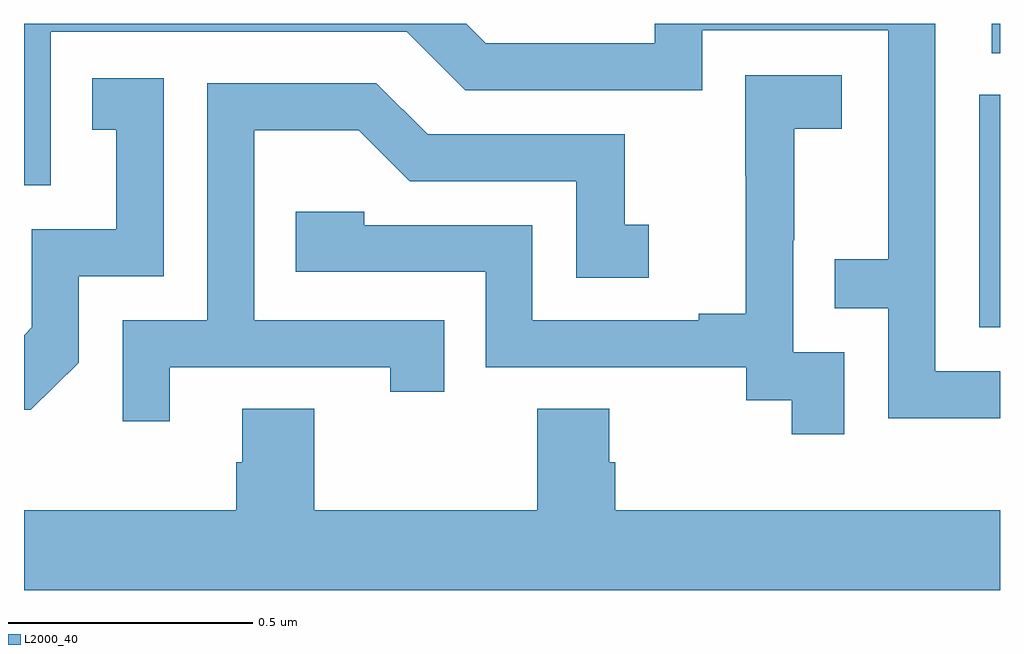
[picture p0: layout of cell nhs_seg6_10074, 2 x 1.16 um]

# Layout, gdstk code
import gdstk
lib = gdstk.Library(unit=1e-6, precision=1e-09)
def R(c, l, rs):  # rectangles x0, y0, x1, y1
    for r in rs: c.add(gdstk.rectangle(r[:2], r[2:], *l))
def P(c, l, *ps):  # polygons
    for p in ps: c.add(gdstk.Polygon(p, *l))
L2000_40 = (2000, 40)

nhs_seg6_10074 = lib.new_cell('nhs_seg6_10074')
R(nhs_seg6_10074, L2000_40, [(243.957,943.878,244,944.355), (243.983,944.44,244,944.5)])
P(nhs_seg6_10074, L2000_40, [(244,943.788),(243.867,943.788),(243.867,944.5),(243.293,944.5),(243.293,944.46),(242.946,944.46),(242.906,944.5),(242,944.5),(242,944.169),(242.055,944.169),(242.055,944.484),(242.784,944.484),(242.904,944.364),(243.39,944.364),(243.39,944.487),(243.771,944.487),(243.771,944.018),(243.661,944.018),(243.661,943.917),(243.771,943.917),(243.771,943.692),(244,943.692)],
  [(243.681,943.827),(243.576,943.827),(243.576,944.057),(243.578,944.057),(243.578,944.285),(243.676,944.285),(243.676,944.395),(243.478,944.395),(243.478,944.189),(243.479,944.189),(243.479,943.906),(243.383,943.906),(243.383,943.893),(243.042,943.893),(243.042,944.088),(242.697,944.088),(242.697,944.115),(242.557,944.115),(242.557,943.992),(242.946,943.992),(242.946,943.797),(243.48,943.797),(243.48,943.729),(243.573,943.729),(243.573,943.659),(243.681,943.659)],
  [(242.112,943.806),(242.112,943.983),(242.286,943.983),(242.286,944.389),(242.14,944.389),(242.14,944.283),(242.189,944.283),(242.189,944.079),(242.016,944.079),(242.016,943.878),(242,943.862),(242,943.709),(242.014,943.709)],
  [(242.299,943.797),(242.75,943.797),(242.75,943.746),(242.861,943.746),(242.861,943.893),(242.472,943.893),(242.472,944.282),(242.686,944.282),(242.79,944.178),(243.132,944.178),(243.132,943.98),(243.28,943.98),(243.28,944.089),(243.231,944.089),(243.231,944.274),(242.827,944.274),(242.722,944.379),(242.376,944.379),(242.376,943.893),(242.202,943.893),(242.202,943.686),(242.299,943.686)],
  [(244,943.504),(243.212,943.504),(243.212,943.602),(243.199,943.602),(243.199,943.712),(243.052,943.712),(243.052,943.504),(242.595,943.504),(242.595,943.712),(242.447,943.712),(242.447,943.602),(242.435,943.602),(242.435,943.504),(242,943.504),(242,943.34),(244,943.34)])

lib.write_gds('nhs_seg6_10074.gds')
